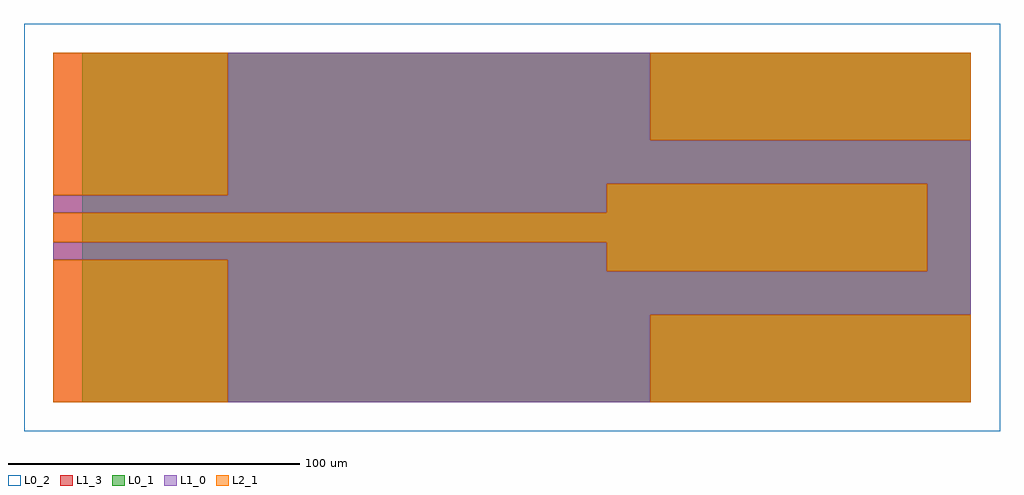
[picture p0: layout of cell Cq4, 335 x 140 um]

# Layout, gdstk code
import gdstk
lib = gdstk.Library(unit=1e-6, precision=1e-09)
def R(c, l, rs):  # rectangles x0, y0, x1, y1
    for r in rs: c.add(gdstk.rectangle(r[:2], r[2:], *l))
def P(c, l, *ps):  # polygons
    for p in ps: c.add(gdstk.Polygon(p, *l))
L0_1 = (0, 1)
L0_2 = (0, 2)
L1_0 = (1, 0)
L1_3 = (1, 3)
L2_1 = (2, 1)

cq4 = lib.new_cell('Cq4')
R(cq4, L0_1, [(-147.5,-60,157.5,60)])
R(cq4, L0_2, [(-167.5,-70,167.5,70)])
P(cq4, L1_0, [(-97.5,-60),(-97.5,-11),(-157.5,-11),(-157.5,-5),(32.5,-5),(32.5,-15),(142.5,-15),(142.5,15),(32.5,15),(32.5,5),(-157.5,5),(-157.5,11),(-97.5,11),(-97.5,60),(47.5,60),(47.5,30),(157.5,30),(157.5,-30),(47.5,-30),(47.5,-60)])
R(cq4, L1_3, [(-157.5,-60,157.5,60)])
R(cq4, L2_1, [(-157.5,-60,-97.5,-11), (47.5,-60,157.5,-30), (-157.5,11,-97.5,60), (47.5,30,157.5,60)])
P(cq4, L2_1, [(32.5,-15),(32.5,-5),(-157.5,-5),(-157.5,5),(32.5,5),(32.5,15),(142.5,15),(142.5,-15)])

lib.write_gds('Cq4.gds')
